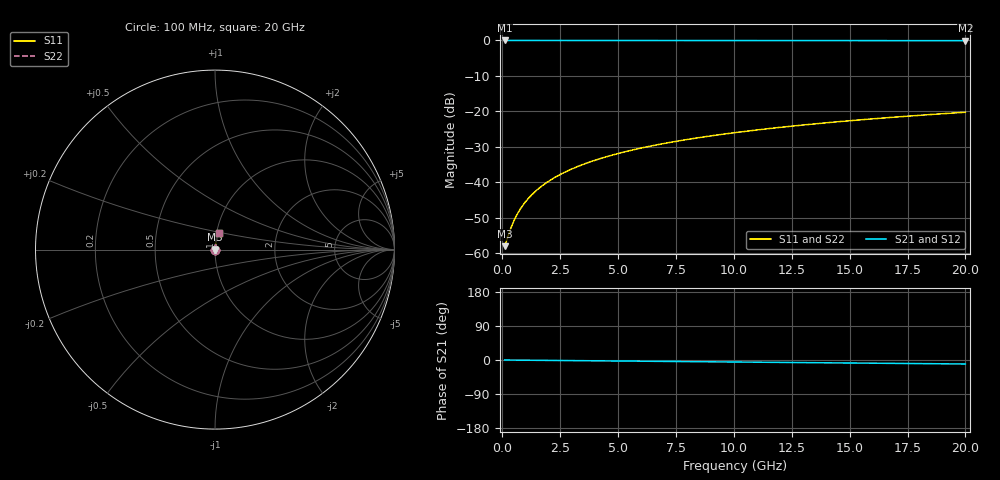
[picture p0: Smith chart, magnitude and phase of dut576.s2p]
! Touchstone file exported from HFSS 2026.1.0
!  File:  C:/ffzhzh/LocalFiles/Ansys_Project_Files/temp_train_TSV_576_1783024900_4048.aedt
!  Generated:  04:44:43 AM Jul  3, 2026
!  Design:  TSV
!  Project:  temp_train_TSV_576_1783024900_4048
! Variables:
!  h_bsmrdl = 2um
!  h_ox = 20um
!  h_rdl = 5um
!  h_sub = 91.74um
!  h_tmrdl = 5um
!  h_tsv = 91.74um
!  h_via = 3um
!  l_bsmrdl = 300um
!  l_sub = 406.12um
!  l_tmrdl = 200um
!  m_sub = 200um
!  pitch = 33.01um
!  r_tsv = 3.06um
!  s_tmrdl = 10um
!  w_bsmrdl = 18um
!  w_sub = 500um
!  w_tmrdl = 12um
!  x_tsv_center1 = 206um
!  x_tsv_center2 = 524um
!  x_tsv_center3 = 736um
!  x_tsv_center4 = 1054um
!  x_tsv_center5 = 1266um
!  x_tsv_center6 = 1584um
# GHz S MA R 50.000000
! Terminal data exported
! Port[1] = TSV1_1_T1
! Port[2] = TSV1_1_T2
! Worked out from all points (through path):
!   200 points, 100 MHz to 20 GHz, reference 50 ohm
!   highest |S21| = -0.01 dB at 100 MHz (marker M1); lowest = -0.1 dB at 20 GHz (marker M2)
!   group delay of S21, straight-line fit = 1.46 ps
!   lowest |S11| = -58.0 dB at 100 MHz (marker M3), VSWR 1.00, Z = 50.1 + j0.0525 ohm
!   |S11| at or under -10 dB: start of sweep to end of sweep
!   |S22| runs from -58.0 to -20.3 dB; largest |S21 - S12| = 3.1e-15
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0.1  0.001254 24.7  0.9989 -0.1  0.9989 -0.1  0.001254 24.7
! Gamma 0 0 0 0
! Port Impedance 50 0 50 0
0.3  0.001946 53.4  0.9988 -0.2  0.9988 -0.2  0.001946 53.4
0.4  0.002384 60.5  0.9988 -0.2  0.9988 -0.2  0.002384 60.5
0.5  0.002845 65.3  0.9988 -0.3  0.9988 -0.3  0.002845 65.3
0.6  0.00332 68.8  0.9988 -0.3  0.9988 -0.3  0.00332 68.8
0.7  0.003804 71.4  0.9988 -0.4  0.9988 -0.4  0.003804 71.4
0.9  0.004787 74.9  0.9988 -0.5  0.9988 -0.5  0.004787 74.9
1.2  0.006284 78.1  0.9988 -0.6  0.9988 -0.6  0.006284 78.1
1.4  0.007289 79.4  0.9987 -0.8  0.9987 -0.8  0.007289 79.4
1.7  0.008803 80.8  0.9987 -0.9  0.9987 -0.9  0.008803 80.8
2.2  0.01133 82.2  0.9986 -1.2  0.9986 -1.2  0.01133 82.2
2.8  0.01437 83.0  0.9985 -1.5  0.9985 -1.5  0.01437 83.0
3.5  0.0179 83.4  0.9984 -1.9  0.9984 -1.9  0.0179 83.4
4.2  0.02141 83.5  0.9982 -2.3  0.9982 -2.3  0.02141 83.5
5  0.0254 83.4  0.9979 -2.7  0.9979 -2.7  0.0254 83.4
5.9  0.02987 83.2  0.9977 -3.2  0.9977 -3.2  0.02987 83.2
6.8  0.0343 82.9  0.9974 -3.6  0.9974 -3.6  0.0343 82.9
8.3  0.04162 82.4  0.9968 -4.4  0.9968 -4.4  0.04162 82.4
10.1  0.05032 81.7  0.9961 -5.4  0.9961 -5.4  0.05033 81.7
13.4  0.0661 80.2  0.9947 -7.1  0.9947 -7.1  0.0661 80.2
16.7  0.0817 78.8  0.9932 -8.8  0.9932 -8.8  0.0817 78.8
20  0.09714 77.3  0.9915 -10.5  0.9915 -10.5  0.09714 77.3
